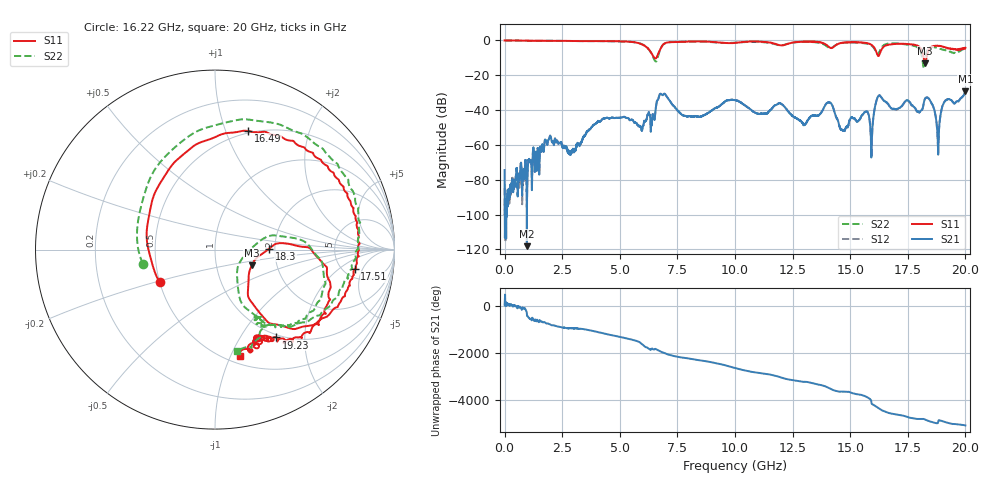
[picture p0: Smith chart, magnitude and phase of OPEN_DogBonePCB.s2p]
#  HZ  S  RI  R  50.00
! Rohde & Schwarz Vector Network Analyzer
! Rohde-Schwarz,ZNB20-2Port,1311601062101763,2.70
! Created: UTC 3/9/2022, 3:46:58 PM
! freq[Hz]  re:S11  im:S11  re:S21  im:S21  re:S12  im:S12  re:S22  im:S22
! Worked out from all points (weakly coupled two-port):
!   5000 points, 100 kHz to 20 GHz, reference 50 ohm
!   highest |S21| = -29.10 dB at 20 GHz (marker M1); lowest = -118.2 dB at 964.3 MHz (marker M2)
!   lowest |S11| = -13.1 dB at 18.26 GHz (marker M3), VSWR 1.57, Z = 74.2 - j13.6 ohm
!   |S11| at or under -10 dB: 6.502 GHz to 6.588 GHz (85.58 MHz wide, 1.31 % of centre); 18.19 GHz to 18.31 GHz (116.8 MHz wide, 0.64 % of centre)
!   |S22| runs from -16.2 to 0.0 dB; largest |S21 - S12| = 0.0013
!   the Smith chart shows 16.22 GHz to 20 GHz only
!   S11 on the Smith chart (normalised r, x): 16.22 GHz: 0.50, -0.21; 16.49 GHz: 0.48, +1.20; 17.51 GHz: 6.31, -3.54; 18.3 GHz: 1.87, +0.02; 19.23 GHz: 0.96, -1.45; 20 GHz: 0.58, -1.08
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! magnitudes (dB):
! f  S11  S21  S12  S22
! 100 kHz  0.0  -74.4  -84.8  0.0
! 964.3 MHz  -0.1  -118.2  -95.9  -0.1
! 1.96 GHz  -0.2  -55.1  -55.2  -0.2
! 3.337 GHz  -0.4  -58.1  -58.1  -0.4
! 4.369 GHz  -0.4  -44.7  -44.7  -0.4
! 5.937 GHz  -2.1  -51.3  -51.3  -2.0
! 6.669 GHz  -7.5  -33.7  -33.7  -8.7
! 10 GHz  -1.4  -34.4  -34.2  -1.3
! 13.33 GHz  -0.7  -43.3  -43.4  -0.9
! 14.09 GHz  -3.9  -35.6  -35.5  -4.3
! 14.65 GHz  -1.3  -51.4  -51.4  -1.4
! 15.92 GHz  -2.6  -67.0  -67.4  -2.9
! 16.22 GHz  -8.9  -32.0  -31.9  -7.7
! 16.49 GHz  -3.3  -34.8  -34.9  -2.5
! 16.67 GHz  -2.4  -36.8  -37.0  -1.8
! 17.51 GHz  -2.1  -34.4  -34.7  -2.5
! 18.26 GHz  -13.1  -33.2  -33.3  -10.3
! 18.3 GHz  -10.4  -32.8  -32.8  -7.0
! 18.81 GHz  -3.0  -60.5  -60.9  -4.4
! 19.23 GHz  -4.5  -33.7  -33.6  -5.9
! 20 GHz  -4.3  -29.4  -29.3  -4.8
! 20 GHz  -4.2  -29.1  -29.2  -4.8
